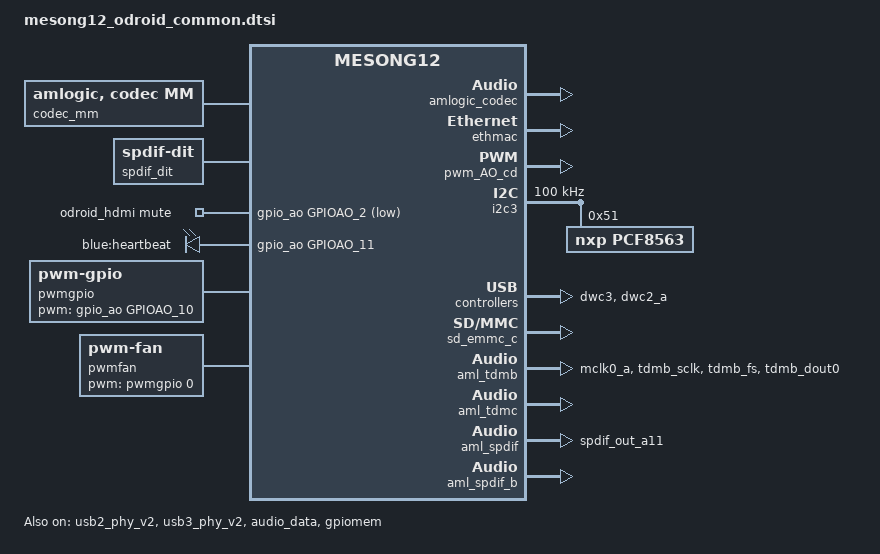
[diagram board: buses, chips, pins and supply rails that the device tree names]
/*
 * arch/arm64/boot/dts/amlogic/mesong12_odroid_common.dtsi
 *
 * Copyright (C) 2018 Hardkernel Co,. Ltd. All rights reserved.
 *
 * This program is free software; you can redistribute it and/or modify
 * it under the terms of the GNU General Public License as published by
 * the Free Software Foundation; either version 2 of the License, or
 * (at your option) any later version.
 *
 * This program is distributed in the hope that it will be useful, but WITHOUT
 * ANY WARRANTY; without even the implied warranty of MERCHANTABILITY or
 * FITNESS FOR A PARTICULAR PURPOSE.  See the GNU General Public License for
 * more details.
 *
 */

#include <include/dt-bindings/thermal/thermal.h>

/{
	aliases {
		serial0 = &uart_AO;
		serial1 = &uart_A;
		serial2 = &uart_B;
		serial3 = &uart_C;
		serial4 = &uart_AO_B;
		i2c0 = &i2c2;
		i2c1 = &i2c3;
		i2c2 = &i2c0;
		i2c3 = &i2c1;
		i2c4 = &i2c_AO;
		tsensor0 = &p_tsensor;
		tsensor1 = &d_tsensor;
		spi0 = &spicc0;
		spi1 = &spicc1;
	};

	gpiomem {
		compatible = "amlogic, gpiomem";
		reg = <0x0 0xff634000 0x0 0x1000>;
		status = "okay";
	};

	codec_mm {
		compatible = "amlogic, codec, mm";
		memory-region = <&codec_mm_cma &codec_mm_reserved>;
		dev_name = "codec_mm";
		status = "okay";
		clear-map;
	};

	ppmgr {
		compatible = "amlogic, ppmgr";
		memory-region = <&ppmgr_reserved>;
		dev_name = "ppmgr";
		status = "okay";
	};

	ionvideo {
		compatible = "amlogic, ionvideo";
		dev_name = "ionvideo";
		status = "okay";
	};

	/* Audio Related start */
	spdif_dit:spdif{
		#sound-dai-cells = <0>;
		compatible = "linux,spdif-dit";
		status = "okay";
	};
	dummy_codec:dummy{
		#sound-dai-cells = <0>;
		compatible = "amlogic, aml_dummy_codec";
		status = "okay";
	};
	amlogic_codec:t9015{
		#sound-dai-cells = <0>;
		compatible = "amlogic, aml_codec_T9015";
		reg = <0x0 0xFF632000 0x0 0x2000>;
		is_auge_used = <1>; /* meson or auge chipset used */
		tdmout_index = <2>;
		status = "okay";
	};
	audio_effect:eqdrc{
		/*eq_enable = <1>;*/
		/*drc_enable = <1>;*/
		/*
		 * 0:tdmout_a
		 * 1:tdmout_b
		 * 2:tdmout_c
		 * 3:spdifout
		 * 4:spdifout_b
		 */
		eqdrc_module = <1>;
		/* max 0xf, each bit for one lane, usually one lane */
		lane_mask = <0x1>;
		/* max 0xff, each bit for one channel */
		channel_mask = <0x3>;
	};
	odroid_hdmi: odroid_hdmi {
		compatible = "amlogic, g12a-sound-card";
		aml-audio-card,name = "AML-AUGESOUND";
		/*line-out mute gpio*/
		mute_gpio = <&gpio_ao GPIOAO_2 GPIO_ACTIVE_LOW>;
		/*for audio effect ,eqdrc */
		aml-audio-card,effect = <&audio_effect>;

		aml-audio-card,dai-link@0 {
			format = "i2s";// "dsp_a";
			mclk-fs = <256>;
			bitclock-master = <&aml_tdmc>;
			frame-master = <&aml_tdmc>;
			continuous-clock;
			/* suffix-name, sync with android audio hal
			 * what's the dai link used for
			 */
			suffix-name = "alsaPORT-i2s";
			cpu {
				sound-dai = <&aml_tdmc>;
				dai-tdm-slot-tx-mask = <1 1>;
				dai-tdm-slot-rx-mask = <1 1>;
				dai-tdm-slot-num = <2>;
				dai-tdm-slot-width = <32>;
				system-clock-frequency = <12288000>;
			};
			codec {
				sound-dai = <&amlogic_codec>;
			};
		};

		/* spdif_b to hdmi, only playback */
		aml-audio-card,dai-link@1 {
			mclk-fs = <128>;
			continuous-clock;
			/* suffix-name, sync with android audio hal
			 * what's the dai link used for
			 */
			suffix-name = "alsaPORT-spdifb2hdmi";
			cpu {
				sound-dai = <&aml_spdif_b>;
				system-clock-frequency = <6144000>;
			};
			codec {
				sound-dai = <&spdif_dit>;
			};
		};

		/* spdif_out GPIOA_11 */
		aml-audio-card,dai-link@2 {
			mclk-fs = <128>;
			/* suffix-name, sync with android audio hal
			 * what's the dai link used for
			 */
			suffix-name = "alsaPORT-spdif";
			cpu {
				sound-dai = <&aml_spdif>;
				system-clock-frequency = <6144000>;
			};
			codec {
				sound-dai = <&spdif_dit>;
			};
		};
		aml-audio-card,dai-link@3 {
			format = "i2s";
			mclk-fs = <256>;
			bitclock-master = <&aml_tdmb>;
			frame-master = <&aml_tdmb>;
			/* suffix-name, sync with android audio hal
			 * what's the dai link used for
			 */
			suffix-name = "alsaPORT-i2s1";
			cpu {
				sound-dai = <&aml_tdmb>;
				dai-tdm-slot-tx-mask = <1 1>;
				dai-tdm-slot-num = <2>;
				dai-tdm-slot-width = <32>;
				system-clock-frequency = <12288000>;
			};
			codec {
				sound-dai = <&dummy_codec>;
			};
		};
	};
	audiolocker: locker {
		compatible = "amlogic, audiolocker";
		clocks = <&clkaudio CLKID_AUDIO_LOCKER_OUT
				&clkaudio CLKID_AUDIO_LOCKER_IN
				&clkaudio CLKID_AUDIO_MCLK_D
				&clkaudio CLKID_AUDIO_MCLK_E
				&clkc CLKID_MPLL1
				&clkc CLKID_MPLL2>;
		clock-names = "lock_out", "lock_in", "out_src",
					"in_src", "out_calc", "in_ref";
		interrupts = <GIC_SPI 1 IRQ_TYPE_EDGE_RISING>;
		interrupt-names = "irq";
		frequency = <49000000>; /* pll */
		dividor = <49>; /* locker's parent */
		status = "okay";
	};
	/* Audio Related end */

	leds {
		compatible = "gpio-leds";
		blueled {
			label = "blue:heartbeat";
			gpios = <&gpio_ao GPIOAO_11 GPIO_ACTIVE_HIGH>;
			linux,default-trigger = "heartbeat";
		};
	};

	gpio-reset {
		compatible = "linux,gpio-reset";
		usb_hub_en {
			gpios = <&gpio GPIOH_5 GPIO_ACTIVE_HIGH>;
			asserted-state = <0>;
			duration-ms = <100>;
		};
		usb_hub {
			gpios = <&gpio GPIOH_4 GPIO_ACTIVE_HIGH>;
			asserted-state = <0>;
			duration-ms = <100>;
		};
	};

	efuse: efuse{
		compatible = "amlogic, efuse";
		read_cmd = <0x82000030>;
		write_cmd = <0x82000031>;
		get_max_cmd = <0x82000033>;
		key = <&efusekey>;
		status = "okay";
	};

	efusekey:efusekey{
		keynum = <1>;
		key0 = <&key_0>;

		key_0: key_0 {
			keyname = "uuid";
			offset = <0>;
			size = <32>;
		};
	};//End efusekey

	onewire:onewire {
		compatible = "w1-gpio";
		gpios = <&gpio GPIOA_13 GPIO_ACTIVE_HIGH>;
		status = "disabled";
	};

	pwmgpio:pwmgpio {
		compatible = "pwm-gpio";
		#pwm-cells = <3>;
		pwm-gpios = <&gpio_ao GPIOAO_10 GPIO_ACTIVE_HIGH>;
		status = "okay";
	};

	pwmfan:pwm-fan {
		compatible = "pwm-fan";
		pwms = <&pwmgpio 0 40000 PWM_POLARITY_INVERTED>;
		cooling-min-state = <0>;
		cooling-max-state = <3>;
		#cooling-cells = <2>;
		cooling-levels = <0 120 170 220>;
	};
};

&soc_thermal {
	trips {
		fan_0: trip-point@4 {
			temperature = <65000>;
			hysteresis = <5000>;
			type = "active";
		};
		fan_1: trip-point@5 {
			temperature = <75000>;
			hysteresis = <5000>;
			type = "active";
		};
	};
	cooling-maps {
		fan_cooling_map0 {
			trip = <&fan_0>;
			cooling-device = <&pwmfan THERMAL_NO_LIMIT 2>;
		};
		fan_cooling_map1 {
			trip = <&fan_1>;
			cooling-device = <&pwmfan 2 THERMAL_NO_LIMIT>;
		};
	};
};

&ethmac {
	status = "okay";
	pinctrl-names = "external_eth_pins";
	pinctrl-0 = <&external_eth_pins>;
	mc_val = <0x1621>;

	internal_phy=<0>;

	/* reset */
	rst_pin-gpios = <&gpio GPIOZ_15 GPIO_ACTIVE_LOW>;
};

/*if you want to use vdin just modify status to "ok"*/
&vdin0 {
	memory-region = <&vdin0_cma_reserved>;
	status = "disable";
	/*vdin write mem color depth support:
	 *bit0:support 8bit
	 *bit1:support 9bit
	 *bit2:support 10bit
	 *bit3:support 12bit
	 *bit4:support yuv422 10bit full pack mode (from txl new add)
	 */
	tv_bit_mode = <0x15>;
};

&vdin1 {
	memory-region = <&vdin1_cma_reserved>;
	status = "disable";
	/*vdin write mem color depth support:
	 *bit0:support 8bit
	 *bit1:support 9bit
	 *bit2:support 10bit
	 *bit3:support 12bit
	 */
	tv_bit_mode = <1>;
};

&pwm_AO_cd {
	status = "okay";
};

&i2c3 {
	status = "okay";
	pinctrl-names = "default","gpio_periphs";
	pinctrl-0 = <&i2c3_master_pins2>;
	pinctrl-1 = <&i2c3_to_gpioa>;
	clock-frequency = <100000>;		/* default 100k */

	pcf8563: rtc@51 {
		compatible = "nxp,pcf8563";
		reg = <0x51>;
	};
};

&a_uart_pins {
	mux {
		groups = "uart_tx_a",
			"uart_rx_a";
		function = "uart_a";
	};
};

&usb2_phy_v2 {
	status = "okay";
	portnum = <2>;
};

&usb3_phy_v2 {
	status = "okay";
	portnum = <1>;
	otg = <1>;
	gpio-vbus-power = "GPIOH_6";
	gpios = <&gpio GPIOH_6 GPIO_ACTIVE_HIGH>;
};

&dwc3 {
	status = "okay";
};

&dwc2_a {
	status = "okay";
	/** 0: normal, 1: otg+dwc3 host only, 2: otg+dwc3 device only*/
	controller-type = <3>;
};

&pcie_A {
	reset-gpio = <&gpio GPIOX_7 GPIO_ACTIVE_HIGH>;
	status = "disable";
};

&sd_emmc_c {
	status = "okay";
	mmc-ddr-1_8v;
	mmc-hs200-1_8v;
	emmc {
		caps = "MMC_CAP_8_BIT_DATA",
			 "MMC_CAP_MMC_HIGHSPEED",
			 "MMC_CAP_SD_HIGHSPEED",
			 "MMC_CAP_NONREMOVABLE",
			 "MMC_CAP_1_8V_DDR",
			 "MMC_CAP_HW_RESET",
			 "MMC_CAP_ERASE",
			 "MMC_CAP_CMD23";
		caps2 = "MMC_CAP2_HS200_1_8V_SDR",
			"MMC_CAP2_BROKEN_VOLTAGE";
		f_min = <400000>;
		f_max = <200000000>;
		hw_reset = <&gpio BOOT_12 GPIO_ACTIVE_HIGH>;
	};
};

&audiobus {
	aml_tdmb: tdmb {
		compatible = "amlogic, g12a-snd-tdmb";
		#sound-dai-cells = <0>;
		dai-tdm-lane-slot-mask-out = <1 1 1 1>;
		dai-tdm-clk-sel = <1>;
		clocks = <&clkaudio CLKID_AUDIO_MCLK_B
				&clkc CLKID_MPLL1>;
		clock-names = "mclk", "clk_srcpll";
		pinctrl-names = "tdm_pins";
		pinctrl-0 = <&tdmb_mclk &tdmout_b /*&tdmin_b*/>;
		mclk_pad = <0>;  /* 0: mclk_0; 1: mclk_1 */
		i2s2hdmi = <0>;
		status = "okay";
	};
	/* tdmc to internal DAC output, no pinmux */
	aml_tdmc: tdmc {
		compatible = "amlogic, g12a-snd-tdmc";
		#sound-dai-cells = <0>;
		dai-tdm-lane-slot-mask-in = <0 1 0 0>;
		dai-tdm-lane-slot-mask-out = <1 0 0 0>;
		dai-tdm-clk-sel = <2>;
		clocks = <&clkaudio CLKID_AUDIO_MCLK_C
				&clkc CLKID_MPLL2>;
		clock-names = "mclk", "clk_srcpll";
		mclk_pad = <1>;  /* 0: mclk_0; 1: mclk_1 */
		i2s2hdmi = <1>;
		status = "okay";
	};

	aml_spdif: spdif {
		compatible = "amlogic, g12a-snd-spdif-a";
		#sound-dai-cells = <0>;
		clocks = <&clkc CLKID_MPLL0
				&clkc CLKID_FCLK_DIV4
				&clkaudio CLKID_AUDIO_SPDIFIN
				&clkaudio CLKID_AUDIO_SPDIFOUT
				&clkaudio CLKID_AUDIO_SPDIFIN_CTRL
				&clkaudio CLKID_AUDIO_SPDIFOUT_CTRL>;
		clock-names = "sysclk", "fixed_clk", "gate_spdifin",
				"gate_spdifout", "clk_spdifin", "clk_spdifout";
		interrupts = <GIC_SPI 151 IRQ_TYPE_EDGE_RISING>;
		interrupt-names = "irq_spdifin";
		pinctrl-names = "spdif_pins";
		pinctrl-0 = <&spdifout>;
		status = "okay";
	};
	aml_spdif_b: spdif_b {
		compatible = "amlogic, g12a-snd-spdif-b";
		#sound-dai-cells = <0>;
		clocks = <&clkc CLKID_MPLL0 /*CLKID_HIFI_PLL*/
				&clkaudio CLKID_AUDIO_SPDIFOUTB
				&clkaudio CLKID_AUDIO_SPDIFOUTB_CTRL>;
		clock-names = "sysclk",
				"gate_spdifout", "clk_spdifout";
		status = "okay";
	};
	aml_loopback: loopback {
		compatible = "amlogic, snd-loopback";
		/*
		 * 0: out rate = in data rate;
		 * 1: out rate = loopback data rate;
		 */
		lb_mode = <0>;

		/* datain src
		 * 0: tdmin_a;
		 * 1: tdmin_b;
		 * 2: tdmin_c;
		 * 3: spdifin;
		 * 4: pdmin;
		 */
		datain_src = <4>;
		datain_chnum = <8>;
		datain_chmask = <0x3f>;

		/* tdmin_lb src
		 * 0: tdmoutA
		 * 1: tdmoutB
		 * 2: tdmoutC
		 * 3: PAD_tdminA
		 * 4: PAD_tdminB
		 * 5: PAD_tdminC
		 */
		datalb_src = <2>;
		datalb_chnum = <8>;
		datalb_chmask = <0x3>;

		status = "disabled";
	};

	audioresample: resample {
		compatible = "amlogic, g12a-resample";
		clocks = <&clkc CLKID_MPLL3
				&clkaudio CLKID_AUDIO_MCLK_F
				&clkaudio CLKID_AUDIO_RESAMPLE_CTRL>;
		clock-names = "resample_pll", "resample_src", "resample_clk";
		/*same with toddr_src
		 *	TDMIN_A, 0
		 *	TDMIN_B, 1
		 *	TDMIN_C, 2
		 *	SPDIFIN, 3
		 *	PDMIN,  4
		 *	NONE,
		 *	TDMIN_LB, 6
		 *	LOOPBACK, 7
		 */
		resample_module = <4>;
		status = "disabled";
	};
	aml_pwrdet: pwrdet {
		compatible = "amlogic, g12a-power-detect";

		interrupts = <GIC_SPI 155 IRQ_TYPE_EDGE_RISING>;
		interrupt-names = "pwrdet_irq";

		/* pwrdet source sel
		 * 7: loopback;
		 * 6: tdmin_lb;
		 * 5: reserved;
		 * 4: pdmin;
		 * 3: spdifin;
		 * 2: tdmin_c;
		 * 1: tdmin_b;
		 * 0: tdmin_a;
		 */
		pwrdet_src = <4>;

		hi_th = <0x70000>;
		lo_th = <0x16000>;

		status = "disabled";
	};
}; /* end of audiobus */

&audio_data {
	status = "okay";
};

&pinctrl_periphs {
	tdmb_mclk: tdmb_mclk {
		mux {
			groups = "mclk0_a";
			function = "mclk0";
			drive-strength = <2>;
		};
	};
	tdmout_b: tdmout_b {
		mux { /* GPIOA_1, GPIOA_2, GPIOA_3 */
			groups = "tdmb_sclk",
				"tdmb_fs",
				"tdmb_dout0";
			function = "tdmb_out";
			drive-strength = <2>;
		};
	};
	i2c2_to_gpiox:i2c2_gpiox {
		mux {
			groups = "GPIOX_17",
				"GPIOX_18";
			function = "gpio_periphs";
			drive-strength = <3>;
		};
	};
	i2c3_master_pins2:i2c3_pins2 {
		mux {
			drive-strength = <3>;
		};
	};
	i2c3_to_gpioa:i2c3_gpioa {
		mux {
			groups = "GPIOA_14",
				"GPIOA_15";
			function = "gpio_periphs";
			drive-strength = <3>;
		};
	};
	spdifout: spdifout {
		mux {/* GPIOA_11 */
			groups = "spdif_out_a11";
			function = "spdif_out";
		};
	};
	spicc0_to_gpiox: spicc0_gpiox {
		mux {
			groups = "GPIOX_8",
				 "GPIOX_9",
				 //"GPIOX_10",
				 "GPIOX_11";
			function = "gpio_periphs";
		};
	};

	pwmcd_to_gpios: pwmcd_gpio {
		mux {
			groups = "GPIOX_5", "GPIOX_6";
			function = "gpio_periphs";
		};
	};

	pwmef_to_gpios: pwmef_gpio {
		mux {
			groups = "GPIOX_16", "GPIOX_7";
			function = "gpio_periphs";
		};
	};
}; /* end of pinctrl_periphs */

&gpio_intc {
	compatible = "amlogic,meson-gpio-intc-ext",
		   "amlogic,meson-g12a-gpio-intc";
};
